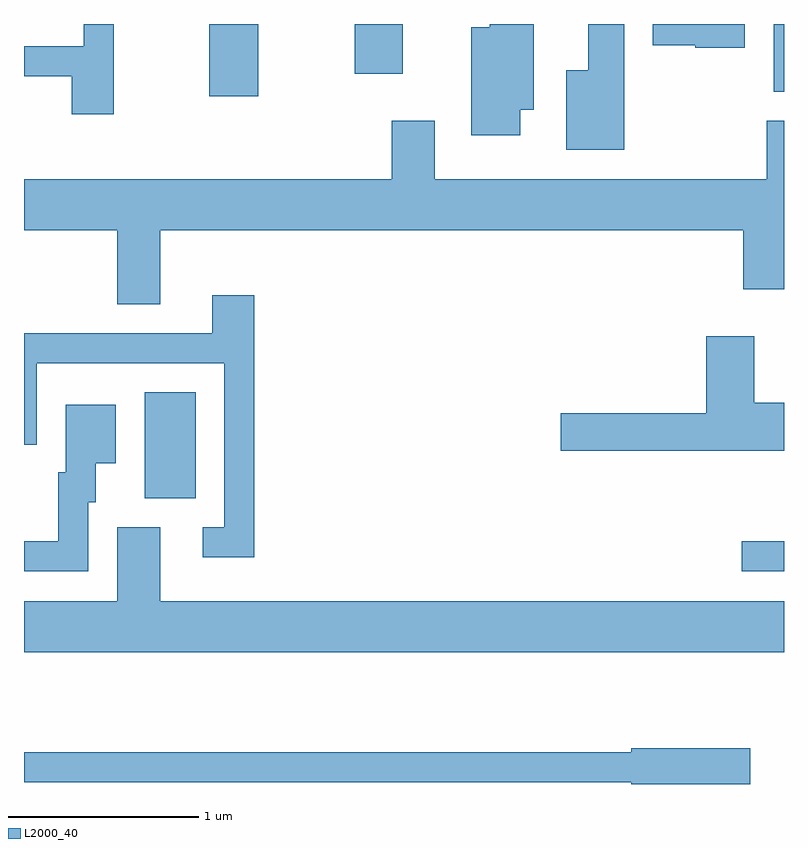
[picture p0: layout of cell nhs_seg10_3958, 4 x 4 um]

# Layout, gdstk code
import gdstk
lib = gdstk.Library(unit=1e-6, precision=1e-09)
def R(c, l, rs):  # rectangles x0, y0, x1, y1
    for r in rs: c.add(gdstk.rectangle(r[:2], r[2:], *l))
def P(c, l, *ps):  # polygons
    for p in ps: c.add(gdstk.Polygon(p, *l))
L2000_40 = (2000, 40)

nhs_seg10_3958 = lib.new_cell('nhs_seg10_3958')
R(nhs_seg10_3958, L2000_40, [(305.388,2147.641,305.611,2147.799), (302.246,2148.026,302.514,2148.584), (302.586,2150.141,302.844,2150.522), (305.556,2150.166,305.611,2150.522), (303.351,2150.261,303.604,2150.522)])
P(nhs_seg10_3958, L2000_40, [(305.404,2150.522),(304.921,2150.522),(304.921,2150.411),(305.145,2150.411),(305.145,2150.396),(305.404,2150.396)],
  [(304.224,2150.071),(304.294,2150.071),(304.294,2150.522),(304.061,2150.522),(304.061,2150.504),(303.966,2150.504),(303.966,2149.936),(304.224,2149.936)],
  [(304.769,2150.522),(304.581,2150.522),(304.581,2150.279),(304.466,2150.279),(304.466,2149.861),(304.769,2149.861)],
  [(302.084,2150.522),(301.926,2150.522),(301.926,2150.404),(301.611,2150.404),(301.611,2150.246),(301.861,2150.246),(301.861,2150.046),(302.084,2150.046)],
  [(302.329,2149.436),(305.396,2149.436),(305.396,2149.126),(305.611,2149.126),(305.611,2150.014),(305.521,2150.014),(305.521,2149.704),(303.774,2149.704),(303.774,2150.014),(303.546,2150.014),(303.546,2149.704),(301.611,2149.704),(301.611,2149.436),(302.101,2149.436),(302.101,2149.046),(302.329,2149.046)],
  [(302.824,2149.094),(302.601,2149.094),(302.601,2148.894),(301.611,2148.894),(301.611,2148.308),(301.679,2148.308),(301.679,2148.736),(302.666,2148.736),(302.666,2147.874),(302.553,2147.874),(302.553,2147.716),(302.824,2147.716)],
  [(305.611,2148.529),(305.454,2148.529),(305.454,2148.879),(305.201,2148.879),(305.201,2148.474),(304.436,2148.474),(304.436,2148.276),(305.611,2148.276)],
  [(301.949,2148.006),(301.989,2148.006),(301.989,2148.211),(302.094,2148.211),(302.094,2148.519),(301.831,2148.519),(301.831,2148.164),(301.791,2148.164),(301.791,2147.799),(301.611,2147.799),(301.611,2147.641),(301.949,2147.641)],
  [(305.611,2147.484),(302.329,2147.484),(302.329,2147.874),(302.101,2147.874),(302.101,2147.484),(301.611,2147.484),(301.611,2147.216),(305.611,2147.216)],
  [(305.434,2146.709),(304.806,2146.709),(304.806,2146.689),(301.611,2146.689),(301.611,2146.531),(304.806,2146.531),(304.806,2146.522),(305.434,2146.522)])

lib.write_gds('nhs_seg10_3958.gds')
